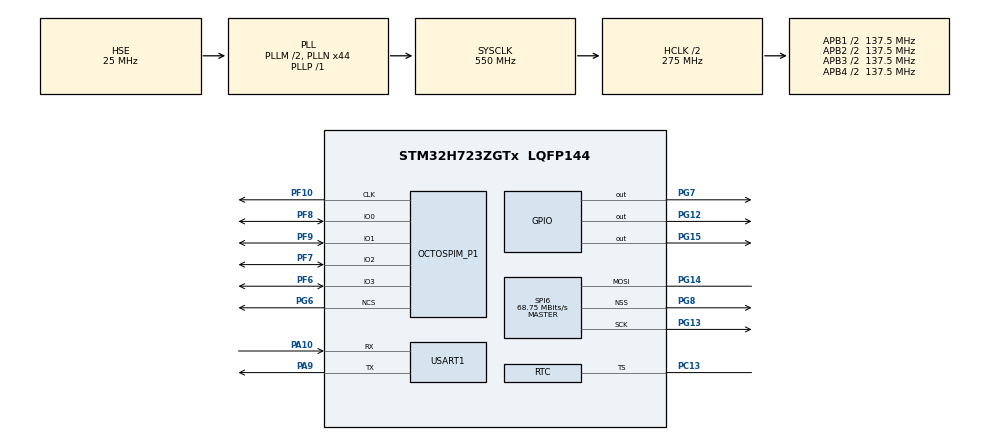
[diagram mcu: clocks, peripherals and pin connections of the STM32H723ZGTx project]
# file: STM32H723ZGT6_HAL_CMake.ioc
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Bdma.Request0=SPI6_TX
Bdma.RequestsNb=1
Bdma.SPI6_TX.0.Direction=DMA_MEMORY_TO_PERIPH
Bdma.SPI6_TX.0.EventEnable=DISABLE
Bdma.SPI6_TX.0.Instance=BDMA_Channel0
Bdma.SPI6_TX.0.MemDataAlignment=DMA_MDATAALIGN_BYTE
Bdma.SPI6_TX.0.MemInc=DMA_MINC_ENABLE
Bdma.SPI6_TX.0.Mode=DMA_NORMAL
Bdma.SPI6_TX.0.PeriphDataAlignment=DMA_PDATAALIGN_BYTE
Bdma.SPI6_TX.0.PeriphInc=DMA_PINC_DISABLE
Bdma.SPI6_TX.0.Polarity=HAL_DMAMUX_REQ_GEN_RISING
Bdma.SPI6_TX.0.Priority=DMA_PRIORITY_VERY_HIGH
Bdma.SPI6_TX.0.RequestNumber=1
Bdma.SPI6_TX.0.SignalID=NONE
Bdma.SPI6_TX.0.SyncEnable=DISABLE
Bdma.SPI6_TX.0.SyncPolarity=HAL_DMAMUX_SYNC_NO_EVENT
Bdma.SPI6_TX.0.SyncRequestNumber=1
Bdma.SPI6_TX.0.SyncSignalID=NONE
CORTEX_M7.AccessPermission_Spec=MPU_REGION_FULL_ACCESS
CORTEX_M7.BaseAddress_Spec=0x20000000
CORTEX_M7.CPU_DCache=Disabled
CORTEX_M7.CPU_ICache=Disabled
CORTEX_M7.Enable-Cortex_Memory_Protection_Unit_Region0_Settings=__NULL
CORTEX_M7.Enable-Cortex_Memory_Protection_Unit_Region1_Settings=__NULL
CORTEX_M7.IsBufferable_Spec=MPU_ACCESS_BUFFERABLE
CORTEX_M7.IsCacheable_Spec=MPU_ACCESS_CACHEABLE
CORTEX_M7.IsShareable_Spec=MPU_ACCESS_NOT_SHAREABLE
CORTEX_M7.MPU_Control=MPU_PRIVILEGED_DEFAULT
CORTEX_M7.Size_Spec=MPU_REGION_SIZE_512KB
CORTEX_M7.SubRegionDisable_Spec=0x0
CORTEX_M7.TypeExtField_Spec=MPU_TEX_LEVEL1
CORTEX_M7.default_mode_Activation=0
Dma.Request0=USART1_RX
Dma.Request1=USART1_TX
Dma.USART1_RX.0.Direction=DMA_PERIPH_TO_MEMORY
Dma.USART1_RX.0.EventEnable=DISABLE
Dma.USART1_RX.0.FIFOMode=DMA_FIFOMODE_DISABLE
Dma.USART1_RX.0.Instance=DMA1_Stream0
Dma.USART1_RX.0.MemDataAlignment=DMA_MDATAALIGN_BYTE
Dma.USART1_RX.0.MemInc=DMA_MINC_ENABLE
Dma.USART1_RX.0.Mode=DMA_NORMAL
Dma.USART1_RX.0.PeriphDataAlignment=DMA_PDATAALIGN_BYTE
Dma.USART1_RX.0.PeriphInc=DMA_PINC_DISABLE
Dma.USART1_RX.0.Polarity=HAL_DMAMUX_REQ_GEN_RISING
Dma.USART1_RX.0.Priority=DMA_PRIORITY_HIGH
Dma.USART1_RX.0.RequestNumber=1
Dma.USART1_RX.0.SignalID=NONE
Dma.USART1_RX.0.SyncEnable=DISABLE
Dma.USART1_RX.0.SyncPolarity=HAL_DMAMUX_SYNC_NO_EVENT
Dma.USART1_RX.0.SyncRequestNumber=1
Dma.USART1_RX.0.SyncSignalID=NONE
Dma.USART1_TX.1.Direction=DMA_MEMORY_TO_PERIPH
Dma.USART1_TX.1.EventEnable=DISABLE
Dma.USART1_TX.1.FIFOMode=DMA_FIFOMODE_DISABLE
Dma.USART1_TX.1.Instance=DMA1_Stream1
Dma.USART1_TX.1.MemDataAlignment=DMA_MDATAALIGN_BYTE
Dma.USART1_TX.1.MemInc=DMA_MINC_ENABLE
Dma.USART1_TX.1.Mode=DMA_NORMAL
Dma.USART1_TX.1.PeriphDataAlignment=DMA_PDATAALIGN_BYTE
Dma.USART1_TX.1.PeriphInc=DMA_PINC_DISABLE
Dma.USART1_TX.1.Polarity=HAL_DMAMUX_REQ_GEN_RISING
Dma.USART1_TX.1.Priority=DMA_PRIORITY_HIGH
Dma.USART1_TX.1.RequestNumber=1
Dma.USART1_TX.1.SignalID=NONE
Dma.USART1_TX.1.SyncEnable=DISABLE
Dma.USART1_TX.1.SyncPolarity=HAL_DMAMUX_SYNC_NO_EVENT
Dma.USART1_TX.1.SyncRequestNumber=1
Dma.USART1_TX.1.SyncSignalID=NONE
FATFS._CODE_PAGE=936
FATFS._MAX_SS=4096
FATFS._USE_LFN=2
FREERTOS.Tasks01=ledTask,25,128,StartLED_Task,Default,NULL,Dynamic,NULL,NULL;lcdTask,8,128,StartLCD_Task,Default,NULL,Dynamic,NULL,NULL
FREERTOS.configUSE_NEWLIB_REENTRANT=1
Mcu.Family=STM32H7
Mcu.Name=STM32H723ZGTx
Mcu.Package=LQFP144
NVIC.BDMA_Channel0_IRQn=true\:5\:0\:false\:false\:true\:true\:false\:true\:true
NVIC.DMA1_Stream0_IRQn=true\:5\:0\:false\:false\:true\:true\:false\:true\:true
NVIC.DMA1_Stream1_IRQn=true\:5\:0\:false\:false\:true\:true\:false\:true\:true
NVIC.PriorityGroup=NVIC_PRIORITYGROUP_4
NVIC.SPI6_IRQn=true\:5\:0\:false\:false\:true\:true\:false\:true\:true
NVIC.TIM6_DAC_IRQn=true\:15\:0\:false\:false\:true\:false\:false\:true\:true
NVIC.TimeBase=TIM6_DAC_IRQn
NVIC.TimeBaseIP=TIM6
NVIC.USART1_IRQn=true\:5\:0\:false\:false\:true\:true\:true\:true\:true
OCTOSPI1.ClockMode=HAL_OSPI_CLOCK_MODE_3
OCTOSPI1.ClockPrescaler=2
OCTOSPI1.DeviceType=SPI_DEVICE_FLASH
OCTOSPI1.FifoThreshold=8
OCTOSPI1.SampleShifting=HAL_OSPI_SAMPLE_SHIFTING_HALFCYCLE
PA10.Mode=Asynchronous
PA10.Signal=USART1_RX
PA11.Signal=USB_OTG_HS_DM
PA12.Signal=USB_OTG_HS_DP
PA13(JTMS/SWDIO).Mode=Serial_Wire
PA13(JTMS/SWDIO).Signal=DEBUG_JTMS-SWDIO
PA14(JTCK/SWCLK).Mode=Serial_Wire
PA14(JTCK/SWCLK).Signal=DEBUG_JTCK-SWCLK
PA9.Mode=Asynchronous
PA9.Signal=USART1_TX
PC13.Mode=Timestamp enabled - Input Enabled to TS
PC13.Signal=RTC_TS
PC14-OSC32_IN.Mode=LSE-External-Oscillator
PC14-OSC32_IN.Signal=RCC_OSC32_IN
PC15-OSC32_OUT.Mode=LSE-External-Oscillator
PC15-OSC32_OUT.Signal=RCC_OSC32_OUT
PC8.Signal=SDMMC1_D0
PF10.Mode=O1_P1_CLK
PF10.Signal=OCTOSPIM_P1_CLK
PF6.Mode=OCTOSPI1_IOL_Port1L
PF6.Signal=OCTOSPIM_P1_IO3
PF7.Mode=OCTOSPI1_IOL_Port1L
PF7.Signal=OCTOSPIM_P1_IO2
PF8.Mode=OCTOSPI1_IOL_Port1L
PF8.Signal=OCTOSPIM_P1_IO0
PF9.Mode=OCTOSPI1_IOL_Port1L
PF9.Signal=OCTOSPIM_P1_IO1
PG12.GPIO_Speed=GPIO_SPEED_FREQ_HIGH
PG12.Signal=GPIO_Output
PG13.GPIO_Speed=GPIO_SPEED_FREQ_VERY_HIGH
PG13.Mode=Simplex_Bidirectional_Master
PG13.Signal=SPI6_SCK
PG14.GPIO_Speed=GPIO_SPEED_FREQ_VERY_HIGH
PG14.Mode=Simplex_Bidirectional_Master
PG14.Signal=SPI6_MOSI
PG15.GPIO_Speed=GPIO_SPEED_FREQ_HIGH
PG15.Signal=GPIO_Output
PG6.Mode=OCTOSPI1_Port1_NCS
PG6.Signal=OCTOSPIM_P1_NCS
PG7.GPIO_Speed=GPIO_SPEED_FREQ_HIGH
PG7.Signal=GPIO_Output
PG8.GPIO_Speed=GPIO_SPEED_FREQ_VERY_HIGH
PG8.Mode=NSS_Signal_Hard_Output
PG8.Signal=SPI6_NSS
PH0-OSC_IN.Mode=HSE-External-Oscillator
PH0-OSC_IN.Signal=RCC_OSC_IN
PH1-OSC_OUT.Mode=HSE-External-Oscillator
PH1-OSC_OUT.Signal=RCC_OSC_OUT
ProjectManager.HeapSize=0x200
ProjectManager.StackSize=0x400
ProjectManager.TargetToolchain=STM32CubeIDE
RCC.ADCFreq_Value=50390625
RCC.APB1Freq_Value=137500000
RCC.APB2Freq_Value=137500000
RCC.APB3Freq_Value=137500000
RCC.APB4Freq_Value=137500000
RCC.CKPERSourceSelection=RCC_CLKPSOURCE_HSE
RCC.CortexFreq_Value=550000000
RCC.D1PPRE=RCC_APB3_DIV2
RCC.D2PPRE1=RCC_APB1_DIV2
RCC.D2PPRE2=RCC_APB2_DIV2
RCC.D3PPRE=RCC_APB4_DIV2
RCC.DIVM1=2
RCC.DIVN1=44
RCC.DIVP1=1
RCC.DIVQ1=5
RCC.HCLKFreq_Value=275000000
RCC.HPRE=RCC_HCLK_DIV2
RCC.PLL2FRACN=0
RCC.PLL3FRACN=0
RCC.PLLFRACN=0
RCC.PLLSourceVirtual=RCC_PLLSOURCE_HSE
RCC.RTCClockSelection=RCC_RTCCLKSOURCE_LSE
RCC.SYSCLKFreq_VALUE=550000000
RCC.SYSCLKSource=RCC_SYSCLKSOURCE_PLLCLK
RCC.USBFreq_Value=110000000
RTC.Month=RTC_MONTH_MAY
RTC.WeekDay=RTC_WEEKDAY_TUESDAY
RTC.Year=19
SPI6.CalculateBaudRate=68.75 MBits/s
SPI6.DataSize=SPI_DATASIZE_8BIT
SPI6.Direction=SPI_DIRECTION_1LINE
SPI6.FifoThreshold=SPI_FIFO_THRESHOLD_02DATA
SPI6.Mode=SPI_MODE_MASTER
SPI6.VirtualNSS=VM_NSSHARD
SPI6.VirtualType=VM_MASTER
USART1.VirtualMode-Asynchronous=VM_ASYNC
VP_DTS_VS-DTS.Mode=DTS
VP_FATFS_VS_Generic.Mode=User_defined
VP_FREERTOS_VS_CMSIS_V2.Mode=CMSIS_V2
VP_MEMORYMAP_VS_MEMORYMAP.Mode=CurAppReg
VP_OCTOSPI1_VS_quad.Mode=quad_mode
VP_RTC_VS_RTC_Activate.Mode=RTC_Enabled
VP_RTC_VS_RTC_Calendar.Mode=RTC_Calendar
VP_SYS_VS_tim6.Mode=TIM6
board=custom

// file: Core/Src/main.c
/* USER CODE BEGIN Header */
/**
  ******************************************************************************
  * @file           : main.c
  * @brief          : Main program body
  ******************************************************************************
  * @attention
  *
  * Copyright (c) 2025 STMicroelectronics.
  * All rights reserved.
  *
  * This software is licensed under terms that can be found in the LICENSE file
  * in the root directory of this software component.
  * If no LICENSE file comes with this software, it is provided AS-IS.
  *
  ******************************************************************************
  */
/* USER CODE END Header */
#include "main.h"
#include "cmsis_os.h"
#include "bdma.h"
#include "dma.h"
#include "dts.h"
#include "fatfs.h"
#include "memorymap.h"
#include "octospi.h"
#include "rtc.h"
#include "spi.h"
#include "usart.h"
#include "gpio.h"

void SystemClock_Config(void);
static void MPU_Config(void);
void MX_FREERTOS_Init(void);

int main(void)
{

  /* MPU Configuration--------------------------------------------------------*/
  MPU_Config();

  /* MCU Configuration--------------------------------------------------------*/

  /* Reset of all peripherals, Initializes the Flash interface and the Systick. */
  HAL_Init();

  /* Configure the system clock */
  SystemClock_Config();

  /* Initialize all configured peripherals */
  MX_GPIO_Init();
  MX_DMA_Init();
  MX_BDMA_Init();
  MX_USART1_UART_Init();
  MX_OCTOSPI1_Init();
  MX_FATFS_Init();
  MX_SPI6_Init();
  MX_RTC_Init();
  MX_DTS_Init();

  /* Init scheduler */
  osKernelInitialize();

  /* Call init function for freertos objects (in cmsis_os2.c) */
  MX_FREERTOS_Init();

  /* Start scheduler */
  osKernelStart();

  /* We should never get here as control is now taken by the scheduler */

  /* Infinite loop */
  while (1)
  {

  }
}

void SystemClock_Config(void)
{
  RCC_OscInitTypeDef RCC_OscInitStruct = {0};
  RCC_ClkInitTypeDef RCC_ClkInitStruct = {0};

  /** Supply configuration update enable
  */
  HAL_PWREx_ConfigSupply(PWR_LDO_SUPPLY);

  /** Configure the main internal regulator output voltage
  */
  __HAL_PWR_VOLTAGESCALING_CONFIG(PWR_REGULATOR_VOLTAGE_SCALE0);

  while(!__HAL_PWR_GET_FLAG(PWR_FLAG_VOSRDY)) {}

  /** Configure LSE Drive Capability
  */
  HAL_PWR_EnableBkUpAccess();
  __HAL_RCC_LSEDRIVE_CONFIG(RCC_LSEDRIVE_LOW);

  /** Initializes the RCC Oscillators according to the specified parameters
  * in the RCC_OscInitTypeDef structure.
  */
  RCC_OscInitStruct.OscillatorType = RCC_OSCILLATORTYPE_HSE|RCC_OSCILLATORTYPE_LSE;
  RCC_OscInitStruct.HSEState = RCC_HSE_ON;
  RCC_OscInitStruct.LSEState = RCC_LSE_ON;
  RCC_OscInitStruct.PLL.PLLState = RCC_PLL_ON;
  RCC_OscInitStruct.PLL.PLLSource = RCC_PLLSOURCE_HSE;
  RCC_OscInitStruct.PLL.PLLM = 2;
  RCC_OscInitStruct.PLL.PLLN = 44;
  RCC_OscInitStruct.PLL.PLLP = 1;
  RCC_OscInitStruct.PLL.PLLQ = 5;
  RCC_OscInitStruct.PLL.PLLR = 2;
  RCC_OscInitStruct.PLL.PLLRGE = RCC_PLL1VCIRANGE_3;
  RCC_OscInitStruct.PLL.PLLVCOSEL = RCC_PLL1VCOWIDE;
  RCC_OscInitStruct.PLL.PLLFRACN = 0;
  if (HAL_RCC_OscConfig(&RCC_OscInitStruct) != HAL_OK)
  {
    Error_Handler();
  }

  /** Initializes the CPU, AHB and APB buses clocks
  */
  RCC_ClkInitStruct.ClockType = RCC_CLOCKTYPE_HCLK|RCC_CLOCKTYPE_SYSCLK
                              |RCC_CLOCKTYPE_PCLK1|RCC_CLOCKTYPE_PCLK2
                              |RCC_CLOCKTYPE_D3PCLK1|RCC_CLOCKTYPE_D1PCLK1;
  RCC_ClkInitStruct.SYSCLKSource = RCC_SYSCLKSOURCE_PLLCLK;
  RCC_ClkInitStruct.SYSCLKDivider = RCC_SYSCLK_DIV1;
  RCC_ClkInitStruct.AHBCLKDivider = RCC_HCLK_DIV2;
  RCC_ClkInitStruct.APB3CLKDivider = RCC_APB3_DIV2;
  RCC_ClkInitStruct.APB1CLKDivider = RCC_APB1_DIV2;
  RCC_ClkInitStruct.APB2CLKDivider = RCC_APB2_DIV2;
  RCC_ClkInitStruct.APB4CLKDivider = RCC_APB4_DIV2;

  if (HAL_RCC_ClockConfig(&RCC_ClkInitStruct, FLASH_LATENCY_3) != HAL_OK)
  {
    Error_Handler();
  }
}

 /* MPU Configuration */

void MPU_Config(void)
{

  /* Disables the MPU */
  HAL_MPU_Disable();
  /* Enables the MPU */
  HAL_MPU_Enable(MPU_PRIVILEGED_DEFAULT);

}

void HAL_TIM_PeriodElapsedCallback(TIM_HandleTypeDef *htim)
{
  if (htim->Instance == TIM6) {
    HAL_IncTick();
  }
}

void Error_Handler(void)
{
  __disable_irq();
  while (1)
  {
  }
}

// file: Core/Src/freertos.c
/* USER CODE BEGIN Header */
/**
  ******************************************************************************
  * File Name          : freertos.c
  * Description        : Code for freertos applications
  ******************************************************************************
  * @attention
  *
  * Copyright (c) 2025 STMicroelectronics.
  * All rights reserved.
  *
  * This software is licensed under terms that can be found in the LICENSE file
  * in the root directory of this software component.
  * If no LICENSE file comes with this software, it is provided AS-IS.
  *
  ******************************************************************************
  */
/* USER CODE END Header */

#include "FreeRTOS.h"
#include "task.h"
#include "main.h"
#include "cmsis_os.h"

/* USER CODE BEGIN Includes */
#include "dts.h"
#include "spiLCD.h"
#include "octospi.h"
#include "rtc.h"
#include "usart.h"
#include "w25qxx.h"
/* USER CODE END Includes */

/* USER CODE BEGIN Variables */
RTC_DateTypeDef rtcDate;
RTC_TimeTypeDef rtcTime;
uint32_t ledTaskCounter = 0; // Counter for the LED task
int32_t temperature = 0;
/* USER CODE END Variables */
/* Definitions for ledTask */
osThreadId_t ledTaskHandle;
const osThreadAttr_t ledTask_attributes = {
  .name = "ledTask",
  .stack_size = 128 * 4,
  .priority = (osPriority_t) osPriorityNormal1,
};
/* Definitions for lcdTask */
osThreadId_t lcdTaskHandle;
const osThreadAttr_t lcdTask_attributes = {
  .name = "lcdTask",
  .stack_size = 128 * 4,
  .priority = (osPriority_t) osPriorityLow,
};

void StartLED_Task(void *argument);
void StartLCD_Task(void *argument);

void MX_FREERTOS_Init(void); /* (MISRA C 2004 rule 8.1) */

void MX_FREERTOS_Init(void) {
  /* USER CODE BEGIN Init */
    HAL_DTS_Start(&hdts);                                  // HAL的DTS初始化
    rtcDate = Get_Build_Date();
    rtcTime = Get_Build_TIME();
    Set_RTC_Start_Time(rtcDate, rtcTime);
    if (OSPI1_W25Qxx_Init() == OSPI_W25Qxx_OK) {
        if (OSPI1_W25Qxx_Test() != OSPI_W25Qxx_OK) {
            USART1_Printf("w25qxx测试不通过\r\n");
        }
    }
    SPI_LCD_Init();
  /* USER CODE END Init */

  /* Create the thread(s) */
  /* creation of ledTask */
  ledTaskHandle = osThreadNew(StartLED_Task, NULL, &ledTask_attributes);

  /* creation of lcdTask */
  lcdTaskHandle = osThreadNew(StartLCD_Task, NULL, &lcdTask_attributes);

}

void StartLED_Task(void *argument)
{
  /* USER CODE BEGIN StartLED_Task */
        /* Infinite loop */
    for (;;) {
        HAL_GPIO_WritePin(GPIOG, GPIO_PIN_7, GPIO_PIN_RESET);
        osDelay(500);
        HAL_GPIO_WritePin(GPIOG, GPIO_PIN_7, GPIO_PIN_SET);
        osDelay(500);
        LOG_D("LED NUM:%08X\r\n", ledTaskCounter++);
        HAL_RTC_GetTime(&hrtc, &rtcTime, RTC_FORMAT_BIN);
        HAL_RTC_GetDate(&hrtc, &rtcDate, RTC_FORMAT_BIN);
        HAL_DTS_GetTemperature(&hdts, &temperature);
    }
  /* USER CODE END StartLED_Task */
}

void StartLCD_Task(void *argument)
{
  /* USER CODE BEGIN StartLCD_Task */
      /* Infinite loop */
    LCD_SetAsciiFont(&ASCII_Font12);
    for (;;) {
        SPILCD_Printf(10, 10, "%4d|%02d|%02d %d %02d:%02d:%02d %03d", rtcDate.Year + 2000, rtcDate.Month, rtcDate.Date, rtcDate.WeekDay, rtcTime.Hours, rtcTime.Minutes, rtcTime.Seconds, HAL_GetTick() % 1000);
        SPILCD_Printf(10, 30, "temp:%09ld", temperature);
        osDelay(1);
    }
  /* USER CODE END StartLCD_Task */
}
